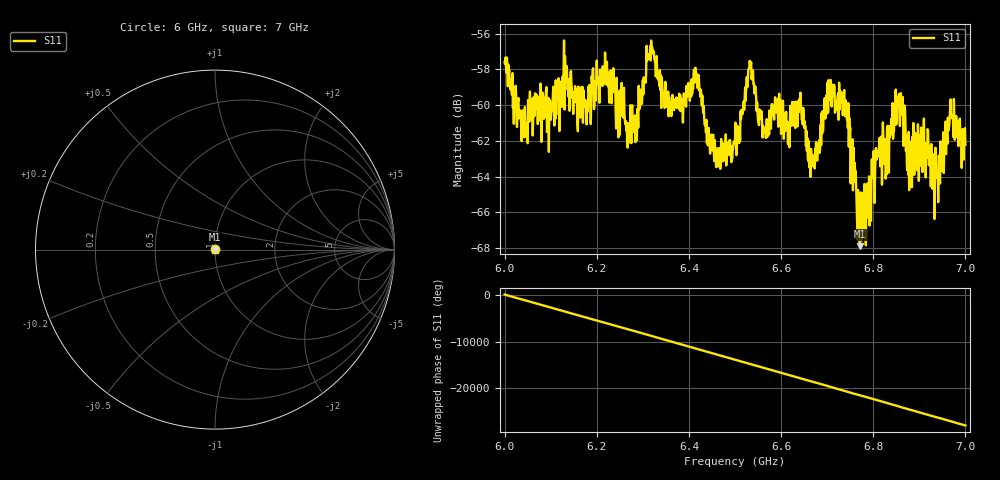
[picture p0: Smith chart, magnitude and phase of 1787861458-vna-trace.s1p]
! Created with skrf 1.10.0 (http://scikit-rf.org).
# Hz S RI R 50.0
!freq ReS11 ImS11
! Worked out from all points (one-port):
!   1001 points, 6 GHz to 7 GHz, reference 50 ohm
!   lowest |S11| = -67.9 dB at 6.771 GHz (marker M1), VSWR 1.00, Z = 50 + j0.0389 ohm
!   |S11| at or under -10 dB: start of sweep to end of sweep
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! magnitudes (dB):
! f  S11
! 6 GHz  -57.6
! 6.045 GHz  -61.1
! 6.125 GHz  -59.3
! 6.175 GHz  -59.7
! 6.218 GHz  -57.1
! 6.25 GHz  -61.7
! 6.285 GHz  -60.8
! 6.319 GHz  -56.8
! 6.349 GHz  -58.7
! 6.375 GHz  -59.8
! 6.416 GHz  -58.2
! 6.459 GHz  -63.5
! 6.5 GHz  -62.0
! 6.534 GHz  -57.9
! 6.565 GHz  -61.6
! 6.625 GHz  -60.8
! 6.644 GHz  -60.4
! 6.668 GHz  -62.8
! 6.708 GHz  -58.6
! 6.737 GHz  -59.2
! 6.75 GHz  -61.3
! 6.771 GHz  -67.9
! 6.851 GHz  -60.6
! 6.875 GHz  -62.0
! 6.905 GHz  -61.8
! 6.936 GHz  -63.1
! 6.971 GHz  -60.7
! 7 GHz  -62.2
